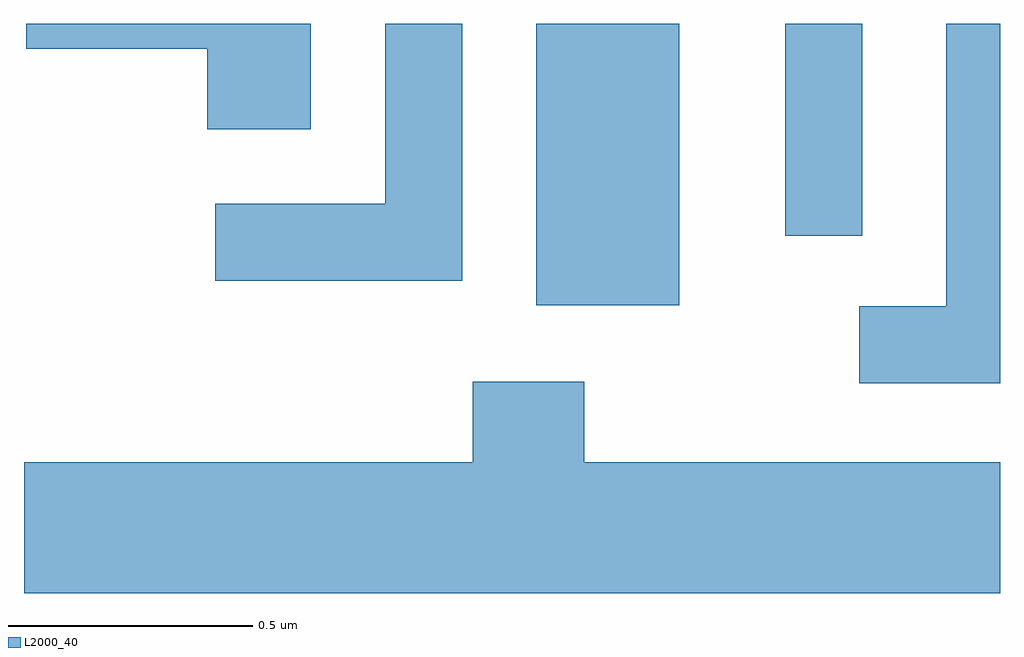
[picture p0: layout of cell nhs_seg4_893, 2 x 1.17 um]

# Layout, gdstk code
import gdstk
lib = gdstk.Library(unit=1e-6, precision=1e-09)
def R(c, l, rs):  # rectangles x0, y0, x1, y1
    for r in rs: c.add(gdstk.rectangle(r[:2], r[2:], *l))
def P(c, l, *ps):  # polygons
    for p in ps: c.add(gdstk.Polygon(p, *l))
L2000_40 = (2000, 40)

nhs_seg4_893 = lib.new_cell('nhs_seg4_893')
R(nhs_seg4_893, L2000_40, [(192.661,1326.406,192.954,1326.982), (193.171,1326.548,193.329,1326.982)])
P(nhs_seg4_893, L2000_40, [(193.611,1326.982),(193.501,1326.982),(193.501,1326.404),(193.323,1326.404),(193.323,1326.246),(193.611,1326.246)],
  [(192.509,1326.982),(192.351,1326.982),(192.351,1326.614),(192.003,1326.614),(192.003,1326.456),(192.509,1326.456)],
  [(192.199,1326.982),(191.616,1326.982),(191.616,1326.931),(191.986,1326.931),(191.986,1326.766),(192.199,1326.766)],
  [(193.611,1326.084),(192.759,1326.084),(192.759,1326.249),(192.531,1326.249),(192.531,1326.084),(191.611,1326.084),(191.611,1325.816),(193.611,1325.816)])

lib.write_gds('nhs_seg4_893.gds')
